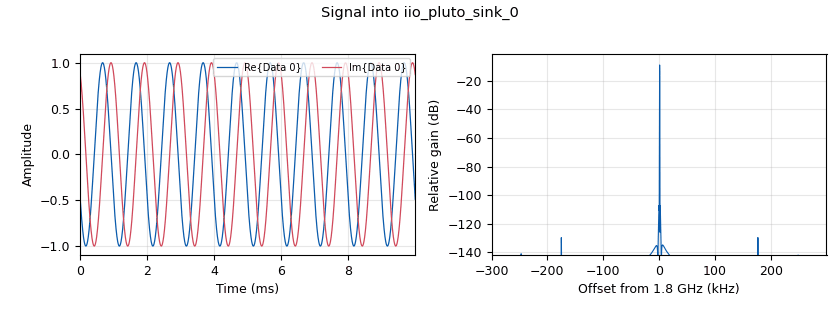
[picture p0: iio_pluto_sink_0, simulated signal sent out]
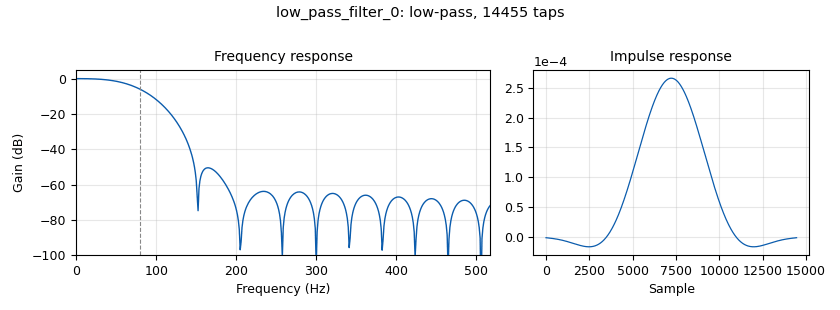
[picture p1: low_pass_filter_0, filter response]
options:
  parameters:
    category: Custom
    generate_options: qt_gui
    id: cw_radar_pluto
    output_language: python
  states: {}

blocks:
- name: addr
  id: variable
  parameters:
    value: '"192.168.3.1"'
  states: {}
- name: band
  id: variable_qtgui_chooser
  parameters:
    gui_hint: 2,0,1,1
    label0: lsb
    label1: usb
    num_opts: '2'
    option0: '[-3000, -300]'
    option1: '[300, 3000]'
    type: raw
    value: '[-3000, -300]'
  states: {state: disabled}
- name: bw
  id: variable
  parameters:
    value: '1000000'
  states: {}
- name: dec
  id: variable
  parameters:
    value: 1024*4
  states: {}
- name: filename
  id: variable
  parameters:
    value: '"freq-800-velocity-1-bw-100-lpf-y"'
  states: {}
- name: freq_op
  id: variable
  parameters:
    value: '1800000000'
  states: {}
- name: ptt
  id: variable_qtgui_check_box
  parameters:
    'false': 'False'
    gui_hint: 2,1,1,1
    'true': 'True'
    type: bool
    value: 'False'
  states: {state: disabled}
- name: rx_freq
  id: variable_qtgui_range
  parameters:
    gui_hint: 0,0,1,1
    start: '0'
    step: '1000'
    stop: '60000000'
    value: '50000000'
  states: {state: disabled}
- name: rx_samp_rate
  id: variable
  parameters:
    value: '100000'
  states: {state: disabled}
- name: samp_rate
  id: variable
  parameters:
    value: '600000'
  states: {}
- name: tx_freq
  id: variable_qtgui_range
  parameters:
    gui_hint: 0,1,1,1
    start: '800000000'
    step: '10000'
    stop: '1000000000'
    value: '800000000'
  states: {state: disabled}
- name: tx_samp_rate
  id: variable
  parameters:
    value: '100000'
  states: {state: disabled}
- name: analog_agc_xx_0
  id: analog_agc_xx
  parameters:
    gain: '1.0'
    max_gain: '65536'
    rate: '1e-4'
    reference: '1.0'
    type: complex
  states: {}
- name: analog_agc_xx_0_0
  id: analog_agc_xx
  parameters:
    gain: '1.0'
    max_gain: '65536'
    rate: '1e-4'
    reference: '1.0'
    type: complex
  states: {}
- name: analog_sig_source_x_0
  id: analog_sig_source_x
  parameters:
    amp: '1'
    freq: '1000'
    offset: '0'
    phase: '0'
    samp_rate: samp_rate
    type: complex
    waveform: analog.GR_COS_WAVE
  states: {}
- name: blocks_file_sink_0
  id: blocks_file_sink
  parameters:
    file: /home/rhlab/Downloads/files/+filename
    type: complex
  states: {}
- name: blocks_multiply_conjugate_cc_0
  id: blocks_multiply_conjugate_cc
  parameters: {}
  states: {}
- name: iio_pluto_sink_0
  id: iio_pluto_sink
  parameters:
    attenuation1: '0'
    bandwidth: bw
    buffer_size: '32768'
    cyclic: 'False'
    filter_source: '''Auto'''
    frequency: freq_op
    samplerate: samp_rate
    type: fc32
    uri: addr
  states: {}
- name: iio_pluto_source_0
  id: iio_pluto_source
  parameters:
    bandwidth: bw
    bbdc: 'True'
    buffer_size: '32768'
    filter_source: '''Auto'''
    frequency: freq_op
    gain1: '''slow_attack'''
    quadrature: 'True'
    rfdc: 'True'
    samplerate: samp_rate
    type: fc32
    uri: addr
  states: {}
- name: low_pass_filter_0
  id: low_pass_filter
  parameters:
    cutoff_freq: '80'
    decim: dec
    gain: '1'
    samp_rate: samp_rate
    type: fir_filter_ccf
    width: '100'
    win: window.WIN_HAMMING
  states: {}
- name: qtgui_freq_sink_x_0
  id: qtgui_freq_sink_x
  parameters:
    bw: rx_samp_rate
    fc: '0'
    fftsize: '1024'
    gui_hint: 3,0,1,1
    name: QT GUI Plot
    type: complex
    wintype: window.WIN_HAMMING
  states: {state: disabled}
- name: qtgui_freq_sink_x_1
  id: qtgui_freq_sink_x
  parameters:
    bw: tx_samp_rate
    fc: '0'
    fftsize: '1024'
    gui_hint: 3,1,1,1
    name: QT GUI Plot
    type: complex
    wintype: window.WIN_HAMMING
  states: {state: disabled}
- name: qtgui_freq_sink_x_2
  id: qtgui_freq_sink_x
  parameters:
    autoscale: 'True'
    bw: samp_rate/dec
    fc: '0'
    fftsize: '1024'
    type: complex
  states: {state: disabled}
- name: qtgui_freq_sink_x_3
  id: qtgui_freq_sink_x
  parameters:
    bw: samp_rate/dec
    fc: '0'
    fftsize: '1024'
    type: complex
  states: {state: disabled}
- name: qtgui_waterfall_sink_x_0
  id: qtgui_waterfall_sink_x
  parameters:
    bw: samp_rate/dec
    fc: '0'
    fftsize: '1024'
    type: complex
  states: {}

connections:
- [analog_agc_xx_0, '0', blocks_multiply_conjugate_cc_0, '0']
- [analog_agc_xx_0_0, '0', blocks_multiply_conjugate_cc_0, '1']
- [analog_sig_source_x_0, '0', analog_agc_xx_0, '0']
- [analog_sig_source_x_0, '0', iio_pluto_sink_0, '0']
- [analog_sig_source_x_0, '0', qtgui_freq_sink_x_1, '0']
- [blocks_multiply_conjugate_cc_0, '0', low_pass_filter_0, '0']
- [iio_pluto_source_0, '0', analog_agc_xx_0_0, '0']
- [low_pass_filter_0, '0', blocks_file_sink_0, '0']
- [low_pass_filter_0, '0', qtgui_freq_sink_x_2, '0']
- [low_pass_filter_0, '0', qtgui_freq_sink_x_3, '0']
- [low_pass_filter_0, '0', qtgui_waterfall_sink_x_0, '0']

metadata:
  file_format: 1
